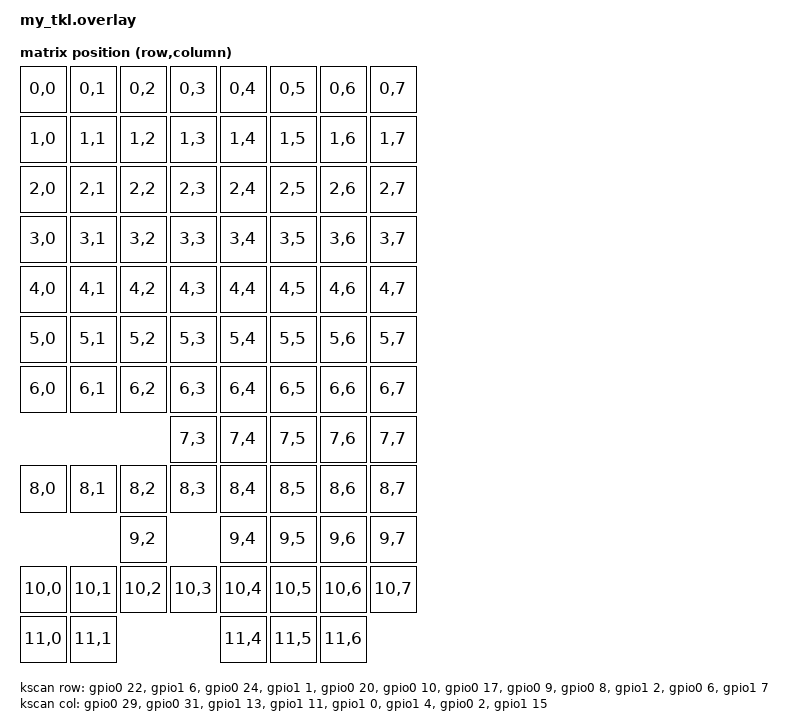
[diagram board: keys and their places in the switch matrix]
#include <dt-bindings/zmk/matrix_transform.h>

/ {
    chosen {
        zmk,kscan = &kscan;
        zmk,matrix_transform = &transform;
    };

    kscan: kscan {
        compatible = "zmk,kscan-gpio-matrix";
        label = "KSCAN";
        diode-direction = "col2row";

        row-gpios = <&gpio0 22 (GPIO_ACTIVE_HIGH | GPIO_PULL_DOWN)>,
                    <&gpio1 6  (GPIO_ACTIVE_HIGH | GPIO_PULL_DOWN)>,
                    <&gpio0 24 (GPIO_ACTIVE_HIGH | GPIO_PULL_DOWN)>,
                    <&gpio1 1  (GPIO_ACTIVE_HIGH | GPIO_PULL_DOWN)>,
                    <&gpio0 20 (GPIO_ACTIVE_HIGH | GPIO_PULL_DOWN)>,
                    <&gpio0 10 (GPIO_ACTIVE_HIGH | GPIO_PULL_DOWN)>,
                    <&gpio0 17 (GPIO_ACTIVE_HIGH | GPIO_PULL_DOWN)>,
                    <&gpio0 9  (GPIO_ACTIVE_HIGH | GPIO_PULL_DOWN)>,
                    <&gpio0 8  (GPIO_ACTIVE_HIGH | GPIO_PULL_DOWN)>,
                    <&gpio1 2  (GPIO_ACTIVE_HIGH | GPIO_PULL_DOWN)>,
                    <&gpio0 6  (GPIO_ACTIVE_HIGH | GPIO_PULL_DOWN)>,
                    <&gpio1 7  (GPIO_ACTIVE_HIGH | GPIO_PULL_DOWN)>;

        // row-gpios = <&pro_micro 1 (GPIO_ACTIVE_HIGH | GPIO_PULL_DOWN)>,
        //             <&pro_micro 0 (GPIO_ACTIVE_HIGH | GPIO_PULL_DOWN)>,
        //             <&gpio1 1 (GPIO_ACTIVE_HIGH | GPIO_PULL_DOWN)>,
        //             <&gpio1 2 (GPIO_ACTIVE_HIGH | GPIO_PULL_DOWN)>,
        //             <&gpio1 7 (GPIO_ACTIVE_HIGH | GPIO_PULL_DOWN)>;

        col-gpios = <&gpio0 29 (GPIO_ACTIVE_HIGH)>,
                    <&gpio0 31 (GPIO_ACTIVE_HIGH)>,
                    <&gpio1 13 (GPIO_ACTIVE_HIGH)>,
                    <&gpio1 11 (GPIO_ACTIVE_HIGH)>,
                    <&gpio1 0  (GPIO_ACTIVE_HIGH)>,
                    <&gpio1 4  (GPIO_ACTIVE_HIGH)>,
                    <&gpio0 2  (GPIO_ACTIVE_HIGH)>,
                    <&gpio1 15 (GPIO_ACTIVE_HIGH)>;

        // col-gpios = <&pro_micro 2 (GPIO_ACTIVE_HIGH)>,
        //             <&pro_micro 3 (GPIO_ACTIVE_HIGH)>,
        //             <&pro_micro 4 (GPIO_ACTIVE_HIGH)>,
        //             <&pro_micro 5 (GPIO_ACTIVE_HIGH)>,
        //             <&pro_micro 6 (GPIO_ACTIVE_HIGH)>,
        //             <&pro_micro 7 (GPIO_ACTIVE_HIGH)>,
        //             <&pro_micro 8 (GPIO_ACTIVE_HIGH)>,
        //             <&pro_micro 9 (GPIO_ACTIVE_HIGH)>,
        //             <&pro_micro 21 (GPIO_ACTIVE_HIGH)>,
        //             <&pro_micro 20 (GPIO_ACTIVE_HIGH)>,
        //             <&pro_micro 19 (GPIO_ACTIVE_HIGH)>,
        //             <&pro_micro 18 (GPIO_ACTIVE_HIGH)>,
        //             <&pro_micro 15 (GPIO_ACTIVE_HIGH)>,
        //             <&pro_micro 14(GPIO_ACTIVE_HIGH)>,
        //             <&pro_micro 16 (GPIO_ACTIVE_HIGH)>;
    };

    transform: matrix_transform {
        compatible = "zmk,matrix-transform";
        rows = <5>;
        columns = <15>;

        map = <
                RC(0, 0)  RC(0, 1)  RC(0, 2)  RC(0, 3)  RC(0, 4)  RC(0, 5)  RC(0, 6)  RC(0, 7)
                RC(1, 0)  RC(1, 1)  RC(1, 2)  RC(1, 3)  RC(1, 4)  RC(1, 5)  RC(1, 6)  RC(1, 7)
                RC(2, 0)  RC(2, 1)  RC(2, 2)  RC(2, 3)  RC(2, 4)  RC(2, 5)  RC(2, 6)  RC(2, 7)
                RC(3, 0)  RC(3, 1)  RC(3, 2)  RC(3, 3)  RC(3, 4)  RC(3, 5)  RC(3, 6)  RC(3, 7)
                RC(4, 0)  RC(4, 1)  RC(4, 2)  RC(4, 3)  RC(4, 4)  RC(4, 5)  RC(4, 6)  RC(4, 7)
                RC(5, 0)  RC(5, 1)  RC(5, 2)  RC(5, 3)  RC(5, 4)  RC(5, 5)  RC(5, 6)  RC(5, 7)
                RC(6, 0)  RC(6, 1)  RC(6, 2)  RC(6, 3)  RC(6, 4)  RC(6, 5)  RC(6, 6)  RC(6, 7)
                                              RC(7, 3)  RC(7, 4)  RC(7, 5)  RC(7, 6)  RC(7, 7)
                RC(8, 0)  RC(8, 1)  RC(8, 2)  RC(8, 3)  RC(8, 4)  RC(8, 5)  RC(8, 6)  RC(8, 7)
                                    RC(9, 2)            RC(9, 4)  RC(9, 5)  RC(9, 6)  RC(9, 7)
                RC(10, 0) RC(10, 1) RC(10, 2) RC(10, 3) RC(10, 4) RC(10, 5) RC(10, 6) RC(10, 7)
                RC(11, 0) RC(11, 1)                     RC(11, 4) RC(11, 5) RC(11, 6)
        >;
    };

    // transform: matrix_transform {
    //     compatible = "zmk,matrix-transform";
    //     rows = <5>;
    //     columns = <15>;

    //     map = <
    //             RC(0, 0) RC(0, 1) RC(0, 2) RC(0, 3) RC(0, 4) RC(0, 5)                            RC(0, 9) RC(0, 10) RC(0, 11) RC(0, 12) RC(0, 13) RC(0, 14)
    //             RC(1, 0) RC(1, 1) RC(1, 2) RC(1, 3) RC(1, 4) RC(1, 5)                            RC(1, 9) RC(1, 10) RC(1, 11) RC(1, 12) RC(1, 13) RC(1, 14)
    //             RC(2, 0) RC(2, 1) RC(2, 2) RC(2, 3) RC(2, 4) RC(2, 5) RC(2, 6) RC(2, 7) RC(2, 8) RC(2, 9) RC(2, 10) RC(2, 11) RC(2, 12) RC(2, 13) RC(2, 14)
    //             RC(3, 0) RC(3, 1) RC(3, 2) RC(3, 3) RC(3, 4) RC(3, 5) RC(3, 6) RC(3, 7) RC(3, 8) RC(3, 9) RC(3, 10) RC(3, 11) RC(3, 12) RC(3, 13) RC(3, 14)
    //                                        RC(4, 3) RC(4, 4) RC(4, 5) RC(4, 6) RC(4, 7) RC(4, 8) RC(4, 9) RC(4, 10) RC(4, 11) 
    //     >;
    // };
};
